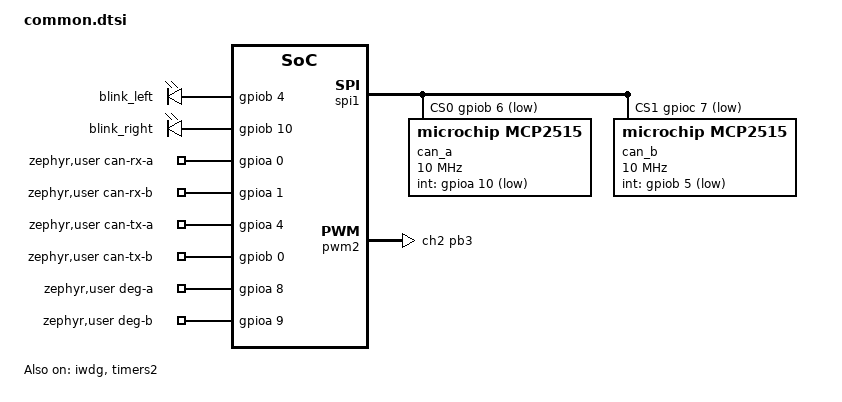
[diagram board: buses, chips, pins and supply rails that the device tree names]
/* pins shared by N2 and N3 (team pin reference); front/rear.overlay add the rest */
/ {
	blinkers {
		compatible = "gpio-leds";
		blink_left: blink_left { gpios = <&gpiob 4 GPIO_ACTIVE_HIGH>; };   /* FL / RL, D5 PB4 */
		blink_right: blink_right { gpios = <&gpiob 10 GPIO_ACTIVE_HIGH>; }; /* FR / RR, D6 PB10 */
	};

	zephyr,user {
		can-rx-a-gpios = <&gpioa 0 GPIO_ACTIVE_HIGH>;  /* CAN_RX_A, A0 PA0 */
		can-rx-b-gpios = <&gpioa 1 GPIO_ACTIVE_HIGH>;  /* CAN_RX_B, A1 PA1 */
		can-tx-a-gpios = <&gpioa 4 GPIO_ACTIVE_HIGH>;  /* CAN_TX_A, A2 PA4 */
		can-tx-b-gpios = <&gpiob 0 GPIO_ACTIVE_HIGH>;  /* CAN_TX_B, A3 PB0 */
		deg-a-gpios = <&gpioa 8 GPIO_ACTIVE_HIGH>;     /* DEG_A, D7 PA8 */
		deg-b-gpios = <&gpioa 9 GPIO_ACTIVE_HIGH>;     /* DEG_B, D8 PA9 */
	};
};

&spi1 {
	status = "okay";
	cs-gpios = <&gpiob 6 (GPIO_ACTIVE_LOW | GPIO_PULL_UP)>,  /* CAN A CS: D10 PB6 */
		   <&gpioc 7 (GPIO_ACTIVE_LOW | GPIO_PULL_UP)>;  /* CAN B CS: D9 PC7 */

	can_a: mcp2515@0 {
		compatible = "microchip,mcp2515";
		reg = <0>;
		spi-max-frequency = <10000000>;          /* MCP2515 max; STM32 rounds down to 5.25 MHz */
		int-gpios = <&gpioa 10 GPIO_ACTIVE_LOW>; /* D2 PA10 */
		osc-freq = <16000000>;                   /* must match the crystal on the module */
		bitrate = <500000>;
		status = "okay";
	};

	can_b: mcp2515@1 {
		compatible = "microchip,mcp2515";
		reg = <1>;
		spi-max-frequency = <10000000>;
		int-gpios = <&gpiob 5 GPIO_ACTIVE_LOW>;  /* D4 PB5 */
		osc-freq = <16000000>;
		bitrate = <500000>;
		status = "okay";
	};
};

/* board defaults that sit on our pins */
&usart1 { status = "disabled"; }; /* PB6/PB7: PB6 is CAN A CS */
&i2c3 { status = "disabled"; };   /* PA8/PC9: PA8 is DEG_A */
&adc1 { status = "disabled"; };   /* PA0: CAN_RX_A */

/* independent watchdog (R4.5) */
&iwdg { status = "okay"; };

/* TIM2 at 1 MHz (84 MHz / 84), channel 2 on PB3 only, so nothing lands on PA5 (SPI1 SCK) */
&timers2 {
	status = "okay";
	st,prescaler = <83>;
};

&pwm2 {
	pinctrl-0 = <&tim2_ch2_pb3>;
	pinctrl-names = "default";
	status = "okay";
};
